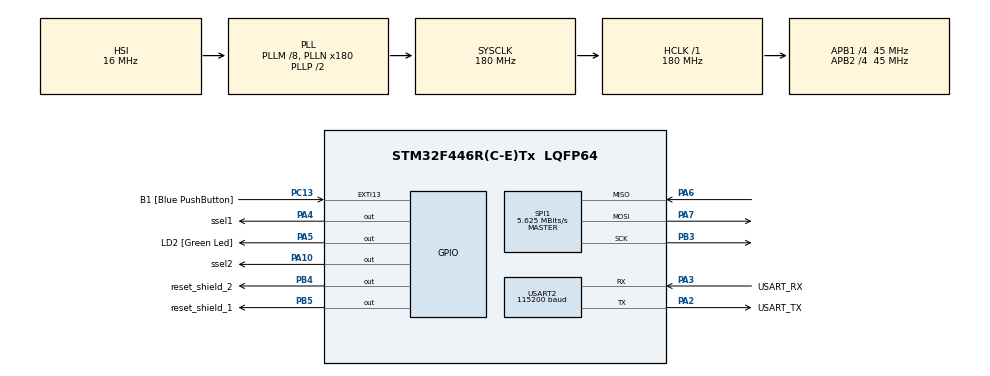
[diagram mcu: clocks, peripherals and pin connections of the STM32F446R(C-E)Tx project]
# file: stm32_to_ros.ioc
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Mcu.Family=STM32F4
Mcu.Name=STM32F446R(C-E)Tx
Mcu.Package=LQFP64
NVIC.PriorityGroup=NVIC_PRIORITYGROUP_0
NVIC.TIM2_IRQn=true\:0\:2\:false\:false\:true\:true\:true\:true
NVIC.USART2_IRQn=true\:0\:0\:false\:false\:true\:true\:true\:true
PA10.GPIO_Label=ssel2
PA10.Signal=GPIO_Output
PA13.GPIO_Label=TMS
PA13.Mode=Serial_Wire
PA13.Signal=SYS_JTMS-SWDIO
PA14.GPIO_Label=TCK
PA14.Mode=Serial_Wire
PA14.Signal=SYS_JTCK-SWCLK
PA2.GPIO_Label=USART_TX
PA2.Mode=Asynchronous
PA2.Signal=USART2_TX
PA3.GPIO_Label=USART_RX
PA3.Mode=Asynchronous
PA3.Signal=USART2_RX
PA4.GPIO_Label=ssel1
PA4.Signal=GPIO_Output
PA5.GPIO_Label=LD2 [Green Led]
PA5.Signal=GPIO_Output
PA6.Mode=Full_Duplex_Master
PA6.Signal=SPI1_MISO
PA7.Mode=Full_Duplex_Master
PA7.Signal=SPI1_MOSI
PB3.Mode=Full_Duplex_Master
PB3.Signal=SPI1_SCK
PB4.GPIO_Label=reset_shield_2
PB4.Signal=GPIO_Output
PB5.GPIO_Label=reset_shield_1
PB5.Signal=GPIO_Output
PC13.GPIO_Label=B1 [Blue PushButton]
PC13.GPIO_ModeDefaultEXTI=GPIO_MODE_IT_FALLING
PC13.Signal=GPXTI13
PC14-OSC32_IN.Mode=LSE-External-Oscillator
PC14-OSC32_IN.Signal=RCC_OSC32_IN
PC15-OSC32_OUT.Mode=LSE-External-Oscillator
PC15-OSC32_OUT.Signal=RCC_OSC32_OUT
PH0-OSC_IN.Mode=HSE-External-Oscillator
PH0-OSC_IN.Signal=RCC_OSC_IN
PH1-OSC_OUT.Mode=HSE-External-Oscillator
PH1-OSC_OUT.Signal=RCC_OSC_OUT
ProjectManager.HeapSize=0x200
ProjectManager.StackSize=0x400
ProjectManager.TargetToolchain=STM32CubeIDE
RCC.48MHZClocksFreq_Value=84000000
RCC.AHBFreq_Value=180000000
RCC.APB1CLKDivider=RCC_HCLK_DIV4
RCC.APB1Freq_Value=45000000
RCC.APB1TimFreq_Value=90000000
RCC.APB2CLKDivider=RCC_HCLK_DIV4
RCC.APB2Freq_Value=45000000
RCC.APB2TimFreq_Value=90000000
RCC.CortexFreq_Value=180000000
RCC.FLatency-AdvancedSettings=FLASH_LATENCY_5
RCC.HCLKFreq_Value=180000000
RCC.HSE_VALUE=8000000
RCC.HSI_VALUE=16000000
RCC.PLLM=8
RCC.PLLN=180
RCC.SYSCLKFreq_VALUE=180000000
RCC.SYSCLKSource=RCC_SYSCLKSOURCE_PLLCLK
RCC.USBFreq_Value=180000000
RCC.VCOOutputFreq_Value=360000000
SPI1.BaudRatePrescaler=SPI_BAUDRATEPRESCALER_8
SPI1.CLKPhase=SPI_PHASE_2EDGE
SPI1.CLKPolarity=SPI_POLARITY_HIGH
SPI1.CalculateBaudRate=5.625 MBits/s
SPI1.DataSize=SPI_DATASIZE_8BIT
SPI1.Direction=SPI_DIRECTION_2LINES
SPI1.Mode=SPI_MODE_MASTER
SPI1.VirtualType=VM_MASTER
TIM2.AutoReloadPreload=TIM_AUTORELOAD_PRELOAD_ENABLE
TIM2.Period=1800000
USART2.BaudRate=115200
USART2.VirtualMode=VM_ASYNC
VP_TIM2_VS_ClockSourceINT.Mode=Internal
board=NUCLEO-F446RE

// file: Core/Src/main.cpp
/* USER CODE BEGIN Header */
/**
  ******************************************************************************
  * @file           : main.c
  * @brief          : Main program body
  ******************************************************************************
  * @attention
  *
  * Copyright (c) 2023 STMicroelectronics.
  * All rights reserved.
  *
  * This software is licensed under terms that can be found in the LICENSE file
  * in the root directory of this software component.
  * If no LICENSE file comes with this software, it is provided AS-IS.
  *
  ******************************************************************************
  */
/* USER CODE END Header */
#include "main.h"

/* USER CODE BEGIN Includes */
#include <string.h>
#include <stdlib.h>
#include <stdio.h>
# include "msg_handler.hpp"
# include "XNucleoIHM02A1.h"
#include "BlocMoteurs.hpp"
/* USER CODE END Includes */

SPI_HandleTypeDef hspi1;

TIM_HandleTypeDef htim2;

UART_HandleTypeDef huart2;

/* USER CODE BEGIN PV */

//Msg handler is built over huart2 (usb) and will handle UART communication
// with the stm32_to_ros_node
MsgHandler msg_handler(&huart2);

//counter increased each Timer2 interrupt (currently 20ms)
int timer_timeout_count = 0;

//Tab of motor_speeds received from msg_handler
float input_motor_speeds[4] {0.0,0.0,0.0,0.0};
float distance_totale[4] = {0.0,0.0,0.0,0.0};

//Flag to control a timeout state
//Timeout occurs if no data was received from serial in a long time
bool timeout_moteurs = false;
int32_t *mesure_pas_ecoulees;
int32_t somme_mesure_pas_ecoulees[4];

//Class handling motors
BlocMoteurs* moteurs;

/* USER CODE END PV */

void SystemClock_Config(void);
static void MX_GPIO_Init(void);
static void MX_USART2_UART_Init(void);
static void MX_TIM2_Init(void);
static void MX_SPI1_Init(void);
/* USER CODE BEGIN PFP */
void send_print(const char* msg);
void send_float(float float_to_send);
/* USER CODE END PFP */

int main(void)
{

  /* MCU Configuration--------------------------------------------------------*/

  /* Reset of all peripherals, Initializes the Flash interface and the Systick. */
  HAL_Init();

  /* Configure the system clock */
  SystemClock_Config();

  /* Initialize all configured peripherals */
  MX_GPIO_Init();
  MX_USART2_UART_Init();
  MX_TIM2_Init();
  MX_SPI1_Init();
  /* USER CODE BEGIN 2 */

  //Start Timer2 interrupt (every 20 ms here)
  //HAL_TIM_Base_Start_IT(&htim2);

  //Init motor class
  moteurs = new BlocMoteurs(&hspi1, reset_shield_1_GPIO_Port, reset_shield_1_Pin, ssel1_GPIO_Port, ssel1_Pin,
		  	  	  	  	  	  	    reset_shield_2_GPIO_Port, reset_shield_2_Pin, ssel2_GPIO_Port, ssel2_Pin);

  //Contrôle par vitesse :

  //accélération pendant 1s, 3s à 5rad/s, décélération pendant 1s //total = 20rad

  int timer_start = HAL_GetTick();
  bool stopped_motor = false;
  float* mesure_vitesse_rad;
  moteurs->set_max_acc_moteurs(5.0, 5.0, 5.0, 5.0);
  moteurs->set_max_dec_moteurs(5.0, 5.0, 5.0, 5.0);
  moteurs->motors_on();
  moteurs->commande_vitesses_absolues(5.0, 5.0, 5.0, 5.0);
  while(HAL_GetTick()-timer_start < 5000)
  {
	  int timer_start_loop = HAL_GetTick();
	  mesure_vitesse_rad = moteurs->mesure_vitesses_rad();

	  for( int i = 0; i< 4; i ++)
	  {
		  distance_totale[i] += mesure_vitesse_rad[i]*0.02;
	  }

	  if( HAL_GetTick() - timer_start > 4000 && stopped_motor==false )
	  {
		  stopped_motor=true;
		  moteurs->motors_stop_soft();
	  }
	  while( HAL_GetTick() - timer_start_loop < 20);

  }

  HAL_Delay(5000);

  //Contrôle par pas :

  //accélération pendant 1s, 3s à 5rad/s, décélération pendant 1s //total = 20rad
  // 1 full step = 1.8°
  // 20 rad : 20 / ( 1,8 * pi /180) -> 636 full step

  moteurs->set_max_speed_moteurs(5.0,5.0,5.0,5.0);
  moteurs->motors_on();
  moteurs->mesure_pas_ecoule();
  moteurs->commande_step(636,636,636,636);

  while(moteurs->get_busy())
  {
	  mesure_pas_ecoulees = moteurs->mesure_pas_ecoule();
	  for( int i = 0; i<4; i ++)
	  {
		  somme_mesure_pas_ecoulees[i]+=mesure_pas_ecoulees[i];
	  }
  }
  mesure_pas_ecoulees = moteurs->mesure_pas_ecoule();
  for( int i = 0; i<4; i ++)
  {
	  somme_mesure_pas_ecoulees[i]+=mesure_pas_ecoulees[i];
  }

  while(1);

  /* USER CODE END 2 */

  /* Infinite loop */
  /* USER CODE BEGIN WHILE */
  while (1)
  {
    //Ask handler to fetch motor_speeds (UART_RECEIVE_IT)
	  msg_handler.prepare_receive_motor_speeds();
	  while(1)
	  {

			if( msg_handler.get_received_motor_speeds(input_motor_speeds) != true)
			{
				if( timer_timeout_count >= 5) // 5*TIM2_INTERRUPT_PERIOD(20m) -> Timeout 100ms
				{
					moteurs->motors_stop_soft_hiz(); // stop motors
					timeout_moteurs = true;
					break;
				}
			}
			else
			{
				moteurs->motors_on(); // toggle motors on in case it was stopped with motor_stop
				timeout_moteurs = false;
				break;
			}

	  }
	  if(timeout_moteurs == false)
	  {
      //Apply received_motor_speeds
		  moteurs->commande_vitesses_absolues(input_motor_speeds[front_left], input_motor_speeds[front_right], input_motor_speeds[back_left], input_motor_speeds[back_right]);
		  //Measure and send motor speeds
		  msg_handler.send_motor_speeds(moteurs->mesure_vitesses_rad());
	  }
    //reset counter for next loop
	  timer_timeout_count = 0;

  }

    /* USER CODE END WHILE */

}

void SystemClock_Config(void)
{
  RCC_OscInitTypeDef RCC_OscInitStruct = {0};
  RCC_ClkInitTypeDef RCC_ClkInitStruct = {0};

  /** Configure the main internal regulator output voltage
  */
  __HAL_RCC_PWR_CLK_ENABLE();
  __HAL_PWR_VOLTAGESCALING_CONFIG(PWR_REGULATOR_VOLTAGE_SCALE1);

  /** Initializes the RCC Oscillators according to the specified parameters
  * in the RCC_OscInitTypeDef structure.
  */
  RCC_OscInitStruct.OscillatorType = RCC_OSCILLATORTYPE_HSI;
  RCC_OscInitStruct.HSIState = RCC_HSI_ON;
  RCC_OscInitStruct.HSICalibrationValue = RCC_HSICALIBRATION_DEFAULT;
  RCC_OscInitStruct.PLL.PLLState = RCC_PLL_ON;
  RCC_OscInitStruct.PLL.PLLSource = RCC_PLLSOURCE_HSI;
  RCC_OscInitStruct.PLL.PLLM = 8;
  RCC_OscInitStruct.PLL.PLLN = 180;
  RCC_OscInitStruct.PLL.PLLP = RCC_PLLP_DIV2;
  RCC_OscInitStruct.PLL.PLLQ = 2;
  RCC_OscInitStruct.PLL.PLLR = 2;
  if (HAL_RCC_OscConfig(&RCC_OscInitStruct) != HAL_OK)
  {
    Error_Handler();
  }

  /** Activate the Over-Drive mode
  */
  if (HAL_PWREx_EnableOverDrive() != HAL_OK)
  {
    Error_Handler();
  }

  /** Initializes the CPU, AHB and APB buses clocks
  */
  RCC_ClkInitStruct.ClockType = RCC_CLOCKTYPE_HCLK|RCC_CLOCKTYPE_SYSCLK
                              |RCC_CLOCKTYPE_PCLK1|RCC_CLOCKTYPE_PCLK2;
  RCC_ClkInitStruct.SYSCLKSource = RCC_SYSCLKSOURCE_PLLCLK;
  RCC_ClkInitStruct.AHBCLKDivider = RCC_SYSCLK_DIV1;
  RCC_ClkInitStruct.APB1CLKDivider = RCC_HCLK_DIV4;
  RCC_ClkInitStruct.APB2CLKDivider = RCC_HCLK_DIV4;

  if (HAL_RCC_ClockConfig(&RCC_ClkInitStruct, FLASH_LATENCY_5) != HAL_OK)
  {
    Error_Handler();
  }
}

static void MX_SPI1_Init(void)
{

  /* SPI1 parameter configuration*/
  hspi1.Instance = SPI1;
  hspi1.Init.Mode = SPI_MODE_MASTER;
  hspi1.Init.Direction = SPI_DIRECTION_2LINES;
  hspi1.Init.DataSize = SPI_DATASIZE_8BIT;
  hspi1.Init.CLKPolarity = SPI_POLARITY_HIGH;
  hspi1.Init.CLKPhase = SPI_PHASE_2EDGE;
  hspi1.Init.NSS = SPI_NSS_SOFT;
  hspi1.Init.BaudRatePrescaler = SPI_BAUDRATEPRESCALER_8;
  hspi1.Init.FirstBit = SPI_FIRSTBIT_MSB;
  hspi1.Init.TIMode = SPI_TIMODE_DISABLE;
  hspi1.Init.CRCCalculation = SPI_CRCCALCULATION_DISABLE;
  hspi1.Init.CRCPolynomial = 10;
  if (HAL_SPI_Init(&hspi1) != HAL_OK)
  {
    Error_Handler();
  }

}

static void MX_TIM2_Init(void)
{

  TIM_ClockConfigTypeDef sClockSourceConfig = {0};
  TIM_MasterConfigTypeDef sMasterConfig = {0};

  htim2.Instance = TIM2;
  htim2.Init.Prescaler = 0;
  htim2.Init.CounterMode = TIM_COUNTERMODE_UP;
  htim2.Init.Period = 1800000;
  htim2.Init.ClockDivision = TIM_CLOCKDIVISION_DIV1;
  htim2.Init.AutoReloadPreload = TIM_AUTORELOAD_PRELOAD_ENABLE;
  if (HAL_TIM_Base_Init(&htim2) != HAL_OK)
  {
    Error_Handler();
  }
  sClockSourceConfig.ClockSource = TIM_CLOCKSOURCE_INTERNAL;
  if (HAL_TIM_ConfigClockSource(&htim2, &sClockSourceConfig) != HAL_OK)
  {
    Error_Handler();
  }
  sMasterConfig.MasterOutputTrigger = TIM_TRGO_RESET;
  sMasterConfig.MasterSlaveMode = TIM_MASTERSLAVEMODE_DISABLE;
  if (HAL_TIMEx_MasterConfigSynchronization(&htim2, &sMasterConfig) != HAL_OK)
  {
    Error_Handler();
  }

}

static void MX_USART2_UART_Init(void)
{

  huart2.Instance = USART2;
  huart2.Init.BaudRate = 115200;
  huart2.Init.WordLength = UART_WORDLENGTH_8B;
  huart2.Init.StopBits = UART_STOPBITS_1;
  huart2.Init.Parity = UART_PARITY_NONE;
  huart2.Init.Mode = UART_MODE_TX_RX;
  huart2.Init.HwFlowCtl = UART_HWCONTROL_NONE;
  huart2.Init.OverSampling = UART_OVERSAMPLING_16;
  if (HAL_UART_Init(&huart2) != HAL_OK)
  {
    Error_Handler();
  }

}

static void MX_GPIO_Init(void)
{
  GPIO_InitTypeDef GPIO_InitStruct = {0};

  /* GPIO Ports Clock Enable */
  __HAL_RCC_GPIOC_CLK_ENABLE();
  __HAL_RCC_GPIOH_CLK_ENABLE();
  __HAL_RCC_GPIOA_CLK_ENABLE();
  __HAL_RCC_GPIOB_CLK_ENABLE();

  /*Configure GPIO pin Output Level */
  HAL_GPIO_WritePin(GPIOA, ssel1_Pin|LD2_Pin|ssel2_Pin, GPIO_PIN_RESET);

  /*Configure GPIO pin Output Level */
  HAL_GPIO_WritePin(GPIOB, reset_shield_2_Pin|reset_shield_1_Pin, GPIO_PIN_RESET);

  /*Configure GPIO pin : B1_Pin */
  GPIO_InitStruct.Pin = B1_Pin;
  GPIO_InitStruct.Mode = GPIO_MODE_IT_FALLING;
  GPIO_InitStruct.Pull = GPIO_NOPULL;
  HAL_GPIO_Init(B1_GPIO_Port, &GPIO_InitStruct);

  /*Configure GPIO pins : ssel1_Pin LD2_Pin ssel2_Pin */
  GPIO_InitStruct.Pin = ssel1_Pin|LD2_Pin|ssel2_Pin;
  GPIO_InitStruct.Mode = GPIO_MODE_OUTPUT_PP;
  GPIO_InitStruct.Pull = GPIO_NOPULL;
  GPIO_InitStruct.Speed = GPIO_SPEED_FREQ_LOW;
  HAL_GPIO_Init(GPIOA, &GPIO_InitStruct);

  /*Configure GPIO pins : reset_shield_2_Pin reset_shield_1_Pin */
  GPIO_InitStruct.Pin = reset_shield_2_Pin|reset_shield_1_Pin;
  GPIO_InitStruct.Mode = GPIO_MODE_OUTPUT_PP;
  GPIO_InitStruct.Pull = GPIO_NOPULL;
  GPIO_InitStruct.Speed = GPIO_SPEED_FREQ_LOW;
  HAL_GPIO_Init(GPIOB, &GPIO_InitStruct);

}

/* USER CODE BEGIN 4 */

//Redirect Uart callback to msg_handler if huart is huart2 peripheral
void HAL_UART_TxCpltCallback(UART_HandleTypeDef *huart)
{
	if (huart == &huart2)
	{
		msg_handler.process_txclpt_callback();
	}

}

//Redirect Uart callback to msg_handler if huart is huart2 peripheral
void HAL_UART_RxCpltCallback(UART_HandleTypeDef *huart)
{
	if( huart == &huart2)
	{
		msg_handler.process_rxclpt_callback();
	}

}

//Timer 2 interrupt (every 20ms)
void HAL_TIM_PeriodElapsedCallback(TIM_HandleTypeDef *htim)
{
  // Check which version of the timer triggered this callback and toggle LED
  if (htim == &htim2 )
  {

	  timer_timeout_count++;
	  if (timer_timeout_count > 10) //in case of a timeout, reset flags that may lock the logic of the msg_handler
	  {
		  msg_handler.unlock_timeout();
	  }

  }
}

/* USER CODE END 4 */

void Error_Handler(void)
{
  __disable_irq();
  while (1)
  {
  }
}
